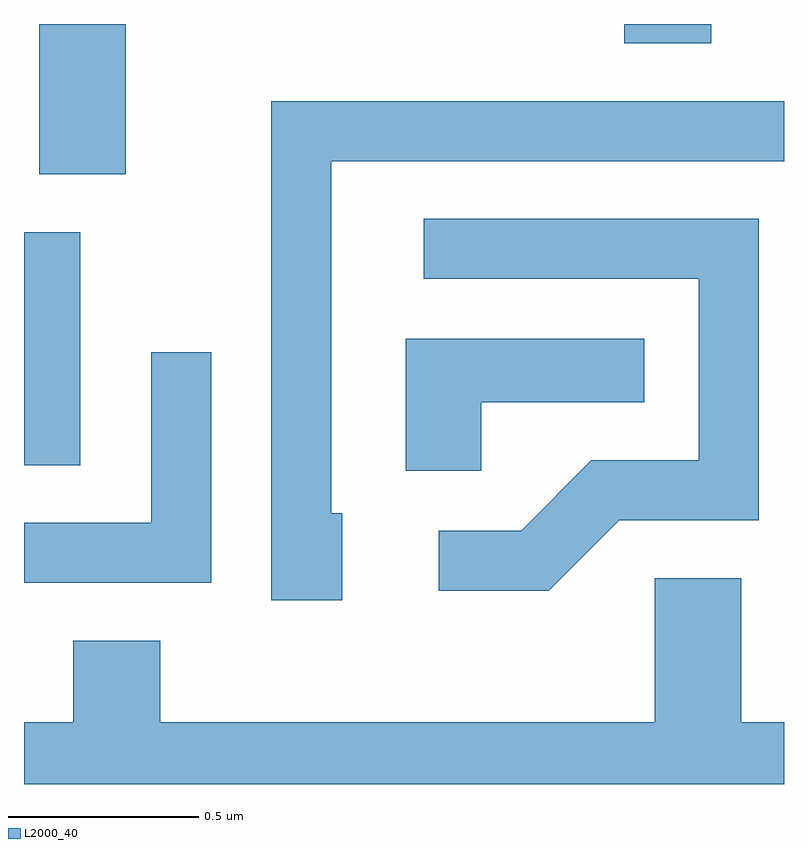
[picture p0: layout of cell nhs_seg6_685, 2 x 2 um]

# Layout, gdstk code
import gdstk
lib = gdstk.Library(unit=1e-6, precision=1e-09)
def R(c, l, rs):  # rectangles x0, y0, x1, y1
    for r in rs: c.add(gdstk.rectangle(r[:2], r[2:], *l))
def P(c, l, *ps):  # polygons
    for p in ps: c.add(gdstk.Polygon(p, *l))
L2000_40 = (2000, 40)

nhs_seg6_685 = lib.new_cell('nhs_seg6_685')
R(nhs_seg6_685, L2000_40, [(190.611,1531.001,190.759,1531.614), (190.651,1531.766,190.879,1532.162), (192.191,1532.111,192.419,1532.162)])
P(nhs_seg6_685, L2000_40, [(191.449,1530.874),(191.419,1530.874),(191.419,1531.801),(192.611,1531.801),(192.611,1531.959),(191.261,1531.959),(191.261,1530.646),(191.449,1530.646)],
  [(192.177,1530.856),(192.544,1530.856),(192.544,1531.649),(191.663,1531.649),(191.663,1531.491),(192.386,1531.491),(192.386,1531.014),(192.104,1531.014),(191.919,1530.829),(191.703,1530.829),(191.703,1530.671),(191.992,1530.671)],
  [(191.814,1531.166),(192.243,1531.166),(192.243,1531.334),(191.616,1531.334),(191.616,1530.986),(191.814,1530.986)],
  [(191.104,1531.298),(190.946,1531.298),(190.946,1530.849),(190.611,1530.849),(190.611,1530.691),(191.104,1530.691)],
  [(192.611,1530.324),(192.499,1530.324),(192.499,1530.704),(192.271,1530.704),(192.271,1530.324),(190.969,1530.324),(190.969,1530.539),(190.741,1530.539),(190.741,1530.324),(190.611,1530.324),(190.611,1530.162),(192.611,1530.162)])

lib.write_gds('nhs_seg6_685.gds')
